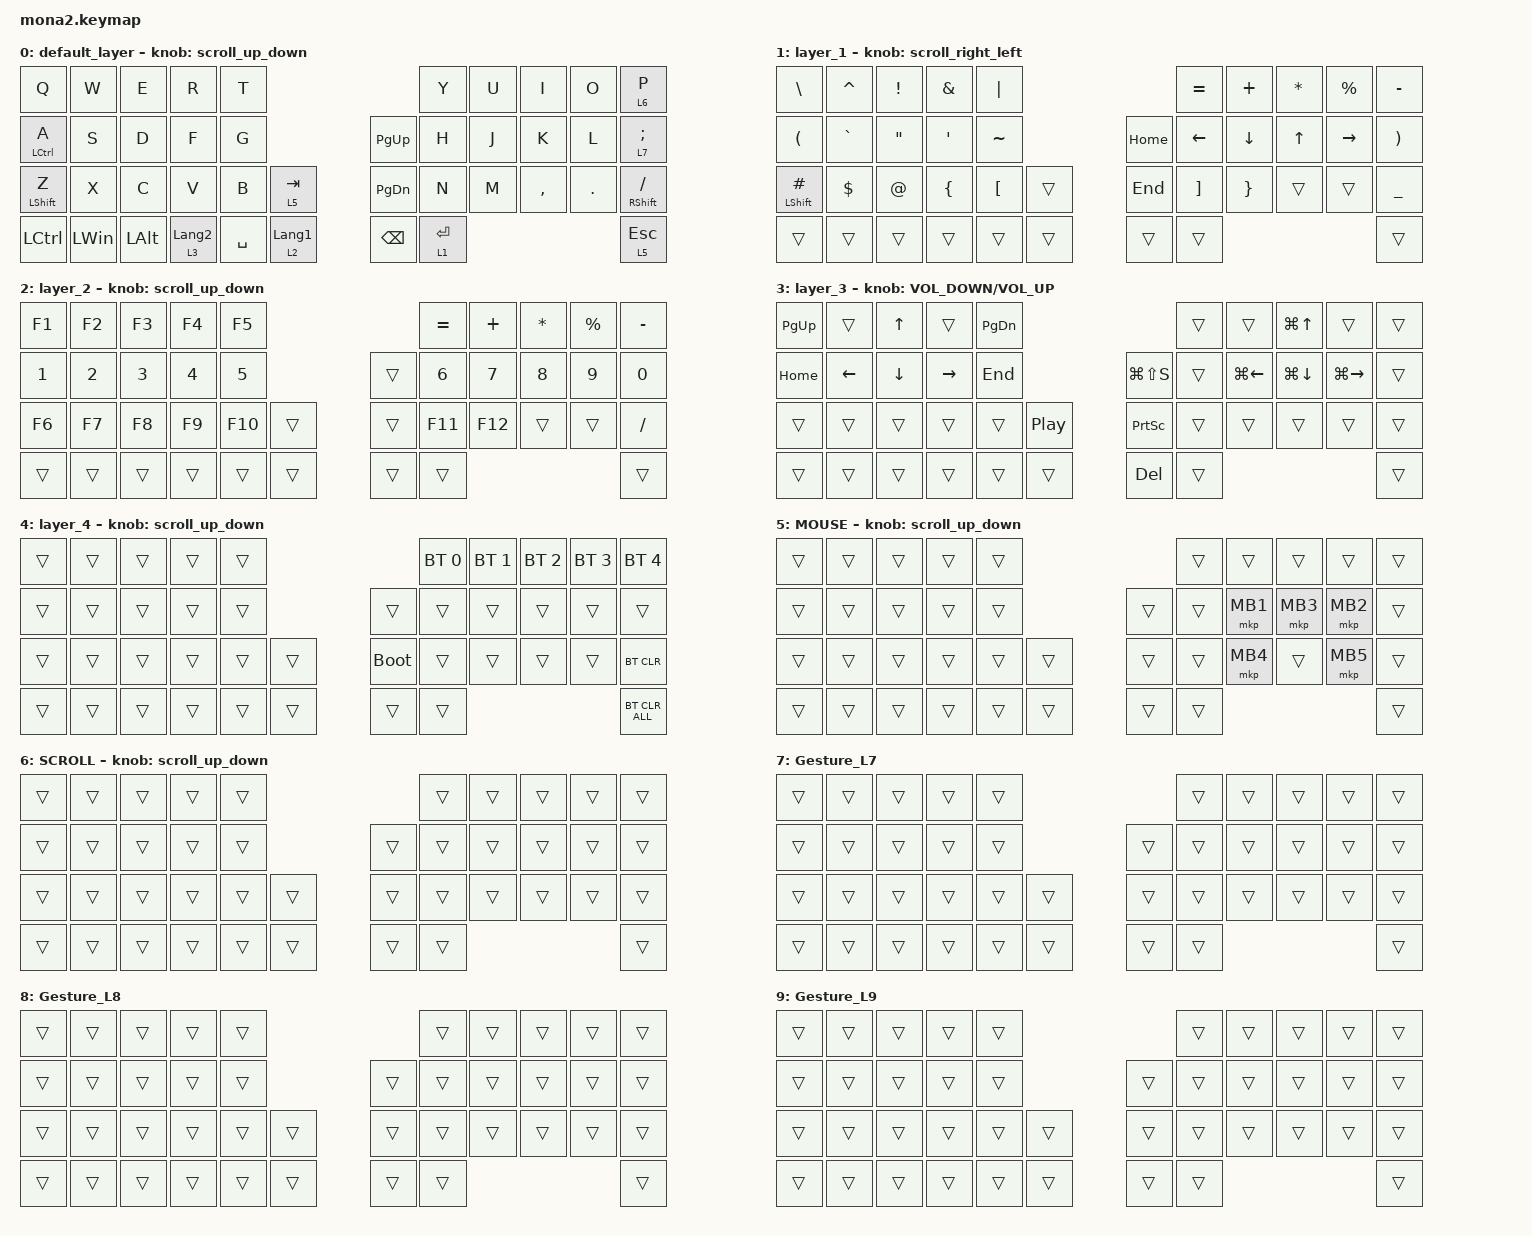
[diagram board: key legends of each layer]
#include <input/processors.dtsi>
#include <dt-bindings/zmk/input_transform.h>
#include <zephyr/dt-bindings/input/input-event-codes.h>
#include <behaviors.dtsi>
#include <dt-bindings/zmk/bt.h>
#include <dt-bindings/zmk/keys.h>
#include <dt-bindings/zmk/pointing.h>
#include "gesture/gesture_L7.dtsi"
#include "gesture/gesture_L8.dtsi"
#include "gesture/gesture_L9.dtsi"

#define ZMK_POINTING_DEFAULT_SCRL_VAL 100
#define MOUSE 5

&mt {
    flavor = "balanced";
    quick-tap-ms = <0>;
};

&lt {
    quick-tap-ms = <200>;
    flavor = "balanced";
};

/ {
    combos {
        compatible = "zmk,combos";

        Gesture_L8 {
            bindings = <&lt 8 LA(TAB)>;
            key-positions = <8 9>;
        };

        Gesture_L9 {
            bindings = <&lt 9 LEFT_WIN>;
            key-positions = <19 20>;
        };

        a {
            bindings = <&none>;
            key-positions = <17 29 18 19 31 10 21>;
        };

        mo_4 {
            bindings = <&mo 4>;
            key-positions = <36 38>;
        };
    };

    macros {
        to_layer_0: to_layer_0 {
            compatible = "zmk,behavior-macro-one-param";
            #binding-cells = <1>;
            bindings = <&to 0 &macro_param_1to1 &kp MACRO_PLACEHOLDER>;
            label = "TO_LAYER_0";
        };

        mul_mark: x_sign_win {
            compatible = "zmk,behavior-macro";
            #binding-cells = <0>;
            wait-ms = <10>;
            tap-ms = <10>;
            bindings =
                <&macro_press>,
                <&kp LALT>,
                <&macro_tap>,
                <&kp KP_N0 &kp KP_N2 &kp KP_N1 &kp KP_N5>,
                <&macro_release>,
                <&kp LALT>;
        };

        div_mark: div_mark {
            compatible = "zmk,behavior-macro";
            label = "DIV_MARK";
            #binding-cells = <0>;
            wait-ms = <10>;
            tap-ms = <10>;
            bindings =
                <&macro_press>,
                <&kp LALT>,
                <&macro_tap>,
                <&kp KP_N0 &kp KP_N2 &kp KP_N4 &kp KP_N7>,
                <&macro_release>,
                <&kp LALT>;
        };

        exit_AML: exit_AML {
            compatible = "zmk,behavior-macro";
            wait-ms = <0>;
            tap-ms = <0>;
            #binding-cells = <0>;
            bindings = <&tog_off MOUSE>;
            label = "exit_AML";
        };

        kp_exit_AML: kp_exit_AML {
            compatible = "zmk,behavior-macro-one-param";
            wait-ms = <0>;
            tap-ms = <0>;
            #binding-cells = <1>;
            bindings = <&macro_param_1to1 &kp MACRO_PLACEHOLDER &exit_AML>;
            label = "KP_exit_AML";
        };
    };

    behaviors {
        lt_to_layer_0: lt_to_layer_0 {
            compatible = "zmk,behavior-hold-tap";
            label = "LAYER_TAP_TO_0";
            #binding-cells = <2>;
            tapping-term-ms = <200>;
            bindings = <&mo>, <&to_layer_0>;
        };

        scroll_up_down: mouse_wheel_up_down {
            compatible = "zmk,behavior-sensor-rotate";
            #sensor-binding-cells = <0>;
            tap-ms = <20>;
            bindings = <&msc SCRL_DOWN>, <&msc SCRL_UP>;
        };

        scroll_right_left: mouse_wheel_right_left {
            compatible = "zmk,behavior-sensor-rotate";
            #sensor-binding-cells = <0>;
            tap-ms = <20>;
            bindings = <&msc SCRL_LEFT>, <&msc SCRL_RIGHT>;
        };

        tog_off: toggle_layer_off {
            compatible = "zmk,behavior-toggle-layer";
            #binding-cells = <1>;
            display-name = "Toggle Layer Off";
            toggle-mode = "off";
        };

        mt_exit_AML_on_tap: mt_exit_AML_on_tap {
            compatible = "zmk,behavior-hold-tap";
            label = "MT_exit_AML_ON_TAP";
            bindings = <&kp>, <&kp_exit_AML>;

            #binding-cells = <2>;
            tapping-term-ms = <200>;
            flavor = "balanced";
            quick-tap-ms = <200>;
            hold-while-undecided;
        };
    };

    keymap {
        compatible = "zmk,keymap";

        default_layer {
            bindings = <
&kp Q                             &kp W         &kp E         &kp R             &kp T                                                    &kp Y        &kp U  &kp I      &kp O    &lt 6 P
&mt_exit_AML_on_tap LCTRL A       &kp S         &kp D         &kp F             &kp G                                     &kp PAGE_UP    &kp H        &kp J  &kp K      &kp L    &lt 7 SEMICOLON
&mt_exit_AML_on_tap LEFT_SHIFT Z  &kp X         &kp C         &kp V             &kp B      &lt 5 TAB                      &kp PAGE_DOWN  &kp N        &kp M  &kp COMMA  &kp DOT  &mt RIGHT_SHIFT SLASH
&kp LCTRL                         &kp LEFT_WIN  &kp LEFT_ALT  &lt 3 LANGUAGE_2  &kp SPACE  &lt_to_layer_0 2 LANGUAGE_1    &kp BACKSPACE  &lt 1 ENTER                             &lt 5 ESCAPE
            >;

            sensor-bindings = <&scroll_up_down>;
        };

        layer_1 {
            bindings = <
&kp BACKSLASH         &kp CARET   &kp EXCLAMATION    &kp AMPERSAND   &kp PIPE                              &kp EQUAL          &kp PLUS         &kp ASTERISK  &kp PERCENT      &kp MINUS
&kp LEFT_PARENTHESIS  &kp GRAVE   &kp DOUBLE_QUOTES  &kp SQT         &kp TILDE                   &kp HOME  &kp LEFT_ARROW     &kp DOWN_ARROW   &kp UP_ARROW  &kp RIGHT_ARROW  &kp RIGHT_PARENTHESIS
&mt LSHFT HASH        &kp DOLLAR  &kp AT             &kp LEFT_BRACE  &kp LEFT_BRACKET  &trans    &kp END   &kp RIGHT_BRACKET  &kp RIGHT_BRACE  &trans        &trans           &kp UNDERSCORE
&trans                &trans      &trans             &trans          &trans            &trans    &trans    &trans                                                             &trans
            >;

            sensor-bindings = <&scroll_right_left>;
        };

        layer_2 {
            bindings = <
&kp F1        &kp F2        &kp F3        &kp F4        &kp F5                          &kp EQUAL     &kp PLUS      &kp ASTERISK  &kp PERCENT   &kp MINUS
&kp NUMBER_1  &kp NUMBER_2  &kp NUMBER_3  &kp NUMBER_4  &kp NUMBER_5            &trans  &kp NUMBER_6  &kp NUMBER_7  &kp NUMBER_8  &kp NUMBER_9  &kp NUMBER_0
&kp F6        &kp F7        &kp F8        &kp F9        &kp F10       &trans    &trans  &kp F11       &kp F12       &trans        &trans        &kp SLASH
&trans        &trans        &trans        &trans        &trans        &trans    &trans  &trans                                                  &trans
            >;

            sensor-bindings = <&scroll_up_down>;
        };

        layer_3 {
            bindings = <
&kp PAGE_UP  &trans    &kp UP_ARROW  &trans           &kp PAGE_DOWN                                       &trans  &trans              &kp LG(UP_ARROW)    &trans               &trans
&kp HOME     &kp LEFT  &kp DOWN      &kp RIGHT_ARROW  &kp END                            &kp LG(LS(S))    &trans  &kp LG(LEFT_ARROW)  &kp LG(DOWN_ARROW)  &kp LG(RIGHT_ARROW)  &trans
&trans       &trans    &trans        &trans           &trans         &kp C_PLAY_PAUSE    &kp PRINTSCREEN  &trans  &trans              &trans              &trans               &trans
&trans       &trans    &trans        &trans           &trans         &trans              &kp DEL          &trans                                                               &trans
            >;

            sensor-bindings = <&inc_dec_kp C_VOLUME_DOWN C_VOLUME_UP>;
        };

        layer_4 {
            bindings = <
&trans  &trans  &trans  &trans  &trans                         &bt BT_SEL 0  &bt BT_SEL 1  &bt BT_SEL 2  &bt BT_SEL 3  &bt BT_SEL 4
&trans  &trans  &trans  &trans  &trans            &trans       &trans        &trans        &trans        &trans        &trans
&trans  &trans  &trans  &trans  &trans  &trans    &bootloader  &trans        &trans        &trans        &trans        &bt BT_CLR
&trans  &trans  &trans  &trans  &trans  &trans    &trans       &trans                                                  &bt BT_CLR_ALL
            >;

            sensor-bindings = <&scroll_up_down>;
        };

        MOUSE {
            bindings = <
&trans  &trans  &trans  &trans  &trans                    &trans  &trans    &trans    &trans    &trans
&trans  &trans  &trans  &trans  &trans            &trans  &trans  &mkp MB1  &mkp MB3  &mkp MB2  &trans
&trans  &trans  &trans  &trans  &trans  &trans    &trans  &trans  &mkp MB4  &trans    &mkp MB5  &trans
&trans  &trans  &trans  &trans  &trans  &trans    &trans  &trans                                &trans
            >;

            sensor-bindings = <&scroll_up_down>;
        };

        SCROLL {
            bindings = <
&trans  &trans  &trans  &trans  &trans                    &trans  &trans  &trans  &trans  &trans
&trans  &trans  &trans  &trans  &trans            &trans  &trans  &trans  &trans  &trans  &trans
&trans  &trans  &trans  &trans  &trans  &trans    &trans  &trans  &trans  &trans  &trans  &trans
&trans  &trans  &trans  &trans  &trans  &trans    &trans  &trans                          &trans
            >;

            sensor-bindings = <&scroll_up_down>;
        };

        Gesture_L7 {
            bindings = <
&trans  &trans  &trans  &trans  &trans                    &trans  &trans  &trans  &trans  &trans
&trans  &trans  &trans  &trans  &trans            &trans  &trans  &trans  &trans  &trans  &trans
&trans  &trans  &trans  &trans  &trans  &trans    &trans  &trans  &trans  &trans  &trans  &trans
&trans  &trans  &trans  &trans  &trans  &trans    &trans  &trans                          &trans
            >;
        };

        Gesture_L8 {
            bindings = <
&trans  &trans  &trans  &trans  &trans                    &trans  &trans  &trans  &trans  &trans
&trans  &trans  &trans  &trans  &trans            &trans  &trans  &trans  &trans  &trans  &trans
&trans  &trans  &trans  &trans  &trans  &trans    &trans  &trans  &trans  &trans  &trans  &trans
&trans  &trans  &trans  &trans  &trans  &trans    &trans  &trans                          &trans
            >;
        };

        Gesture_L9 {
            bindings = <
&trans  &trans  &trans  &trans  &trans                    &trans  &trans  &trans  &trans  &trans
&trans  &trans  &trans  &trans  &trans            &trans  &trans  &trans  &trans  &trans  &trans
&trans  &trans  &trans  &trans  &trans  &trans    &trans  &trans  &trans  &trans  &trans  &trans
&trans  &trans  &trans  &trans  &trans  &trans    &trans  &trans                          &trans
            >;
        };
    };
};
